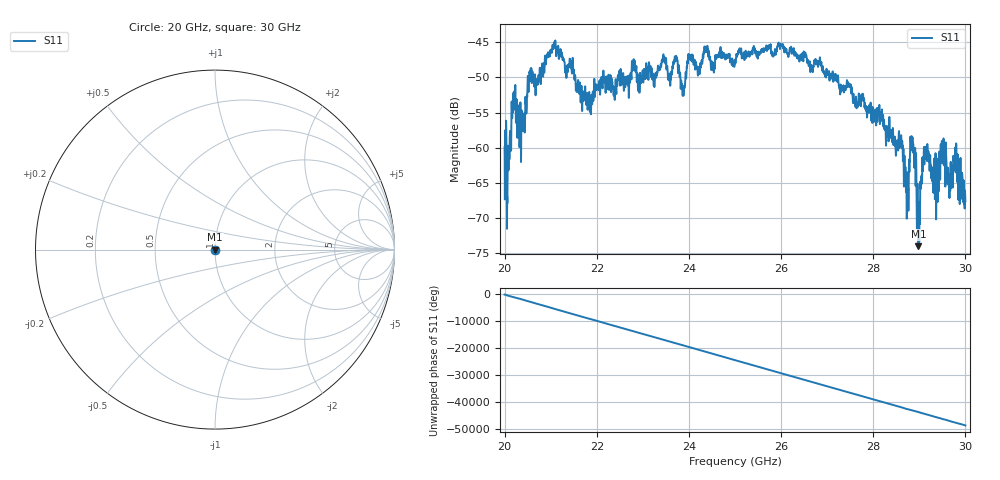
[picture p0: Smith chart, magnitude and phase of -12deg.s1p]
#  HZ  S  RI  R  50.00
! Rohde & Schwarz ZVA40 4Ports - Version 3.90 - 1145.1110k42 SN: 100403
! Date: 2023-10-03 10:14:08
! Measurement: S12
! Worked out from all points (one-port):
!   5001 points, 20 GHz to 30 GHz, reference 50 ohm
!   lowest |S11| = -74.0 dB at 28.98 GHz (marker M1), VSWR 1.00, Z = 50 - j0.0173 ohm
!   |S11| at or under -10 dB: start of sweep to end of sweep
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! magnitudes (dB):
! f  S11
! 20 GHz  -59.9
! 20.09 GHz  -61.0
! 20.2 GHz  -53.6
! 20.37 GHz  -54.9
! 20.55 GHz  -49.8
! 20.71 GHz  -50.6
! 21.06 GHz  -45.9
! 21.25 GHz  -47.0
! 21.85 GHz  -54.8
! 22.5 GHz  -50.0
! 23.59 GHz  -50.0
! 23.75 GHz  -47.5
! 23.87 GHz  -52.5
! 24.02 GHz  -47.2
! 25 GHz  -47.5
! 26.25 GHz  -45.9
! 27.5 GHz  -51.2
! 28.59 GHz  -58.7
! 28.71 GHz  -65.2
! 28.75 GHz  -66.8
! 28.86 GHz  -60.3
! 28.98 GHz  -74.0
! 29.15 GHz  -61.6
! 29.32 GHz  -62.9
! 29.48 GHz  -60.6
! 29.64 GHz  -64.7
! 29.79 GHz  -63.5
! 30 GHz  -67.6
